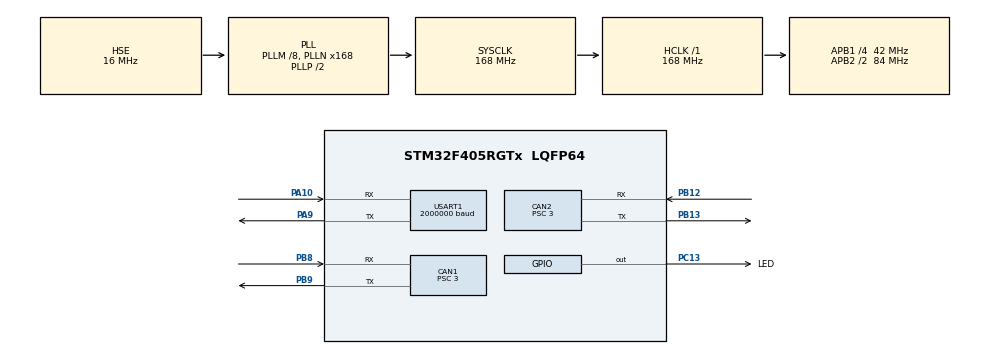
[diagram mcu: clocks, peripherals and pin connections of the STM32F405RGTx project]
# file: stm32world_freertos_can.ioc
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CAN1.BS1=CAN_BS1_11TQ
CAN1.BS2=CAN_BS2_2TQ
CAN1.CalculateBaudRate=1000000
CAN1.CalculateTimeBit=1000
CAN1.CalculateTimeQuantum=71.42857142857143
CAN1.Prescaler=3
CAN2.BS1=CAN_BS1_11TQ
CAN2.BS2=CAN_BS2_2TQ
CAN2.CalculateBaudRate=1000000
CAN2.CalculateTimeBit=1000
CAN2.CalculateTimeQuantum=71.42857142857143
CAN2.Prescaler=3
FREERTOS.BinarySemaphores01=ledSemaphore,Dynamic,NULL,Available
FREERTOS.Events01=canHandlerEvent,Dynamic,NULL
FREERTOS.Mutexes01=ledMutex,Dynamic,NULL,Available;printMutex,Dynamic,NULL,Available
FREERTOS.Queues01=tickQueue,16,uint32_t,0,Dynamic,NULL,NULL;canMessage,16,uint32_t,0,Dynamic,NULL,NULL
FREERTOS.Tasks01=defaultTask,24,128,StartDefaultTask,Default,NULL,Dynamic,NULL,NULL;ledTask,8,128,StartLedTask,Default,NULL,Dynamic,NULL,NULL;tickTask,8,196,StartTickTask,Default,NULL,Dynamic,NULL,NULL;statsTask,8,256,StartStatsTask,Default,NULL,Dynamic,NULL,NULL;canHandler1,8,128,startCanHandler1,Default,NULL,Dynamic,NULL,NULL;canHandler2,8,128,startCanHandler2,Default,NULL,Dynamic,NULL,NULL;canClean,8,128,startCanClean,Default,NULL,Dynamic,NULL,NULL
FREERTOS.configGENERATE_RUN_TIME_STATS=1
FREERTOS.configTOTAL_HEAP_SIZE=65536
FREERTOS.configUSE_NEWLIB_REENTRANT=1
FREERTOS.configUSE_STATS_FORMATTING_FUNCTIONS=1
Mcu.Family=STM32F4
Mcu.Name=STM32F405RGTx
Mcu.Package=LQFP64
NVIC.PriorityGroup=NVIC_PRIORITYGROUP_4
NVIC.TIM8_TRG_COM_TIM14_IRQn=true\:15\:0\:false\:false\:true\:false\:false\:true\:true
NVIC.TIM8_UP_TIM13_IRQn=true\:5\:0\:false\:false\:true\:true\:true\:true\:true
NVIC.TimeBase=TIM8_TRG_COM_TIM14_IRQn
NVIC.TimeBaseIP=TIM14
PA10.Mode=Asynchronous
PA10.Signal=USART1_RX
PA13.Mode=Trace_Asynchronous_SW
PA13.Signal=SYS_JTMS-SWDIO
PA14.Mode=Trace_Asynchronous_SW
PA14.Signal=SYS_JTCK-SWCLK
PA9.Mode=Asynchronous
PA9.Signal=USART1_TX
PB12.Mode=CAN_Activate
PB12.Signal=CAN2_RX
PB13.Mode=CAN_Activate
PB13.Signal=CAN2_TX
PB3.Mode=Trace_Asynchronous_SW
PB3.Signal=SYS_JTDO-SWO
PB8.Mode=CAN_Activate
PB8.Signal=CAN1_RX
PB9.Mode=CAN_Activate
PB9.Signal=CAN1_TX
PC13-ANTI_TAMP.GPIO_Label=LED
PC13-ANTI_TAMP.GPIO_ModeDefaultOutputPP=GPIO_MODE_OUTPUT_OD
PC13-ANTI_TAMP.GPIO_PuPd=GPIO_NOPULL
PC13-ANTI_TAMP.PinState=GPIO_PIN_SET
PC13-ANTI_TAMP.Signal=GPIO_Output
PH0-OSC_IN.Mode=HSE-External-Oscillator
PH0-OSC_IN.Signal=RCC_OSC_IN
PH1-OSC_OUT.Mode=HSE-External-Oscillator
PH1-OSC_OUT.Signal=RCC_OSC_OUT
ProjectManager.HeapSize=0x200
ProjectManager.StackSize=0x400
ProjectManager.TargetToolchain=STM32CubeIDE
RCC.48MHZClocksFreq_Value=84000000
RCC.AHBFreq_Value=168000000
RCC.APB1CLKDivider=RCC_HCLK_DIV4
RCC.APB1Freq_Value=42000000
RCC.APB1TimFreq_Value=84000000
RCC.APB2CLKDivider=RCC_HCLK_DIV2
RCC.APB2Freq_Value=84000000
RCC.APB2TimFreq_Value=168000000
RCC.CortexFreq_Value=168000000
RCC.HCLKFreq_Value=168000000
RCC.HSE_VALUE=16000000
RCC.HSI_VALUE=16000000
RCC.LSE_VALUE=32768
RCC.PLLM=8
RCC.PLLN=168
RCC.PLLSourceVirtual=RCC_PLLSOURCE_HSE
RCC.SYSCLKFreq_VALUE=168000000
RCC.SYSCLKSource=RCC_SYSCLKSOURCE_PLLCLK
RCC.VCOOutputFreq_Value=336000000
TIM13.Period=840 - 1
TIM13.Prescaler=10 - 1 
USART1.BaudRate=2000000
USART1.VirtualMode=VM_ASYNC
VP_FREERTOS_VS_CMSIS_V2.Mode=CMSIS_V2
VP_SYS_VS_tim14.Mode=TIM14
VP_TIM13_VS_ClockSourceINT.Mode=Enable_Timer
board=custom

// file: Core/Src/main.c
/* USER CODE BEGIN Header */
/**
 ******************************************************************************
 * @file           : main.c
 * @brief          : Main program body
 ******************************************************************************
 * @attention
 *
 * Copyright (c) 2024 Lars Boegild Thomsen <lth@stm32world.com>
 * All rights reserved.
 *
 * This software is licensed under terms that can be found in the LICENSE file
 * in the root directory of this software component.
 * If no LICENSE file comes with this software, it is provided AS-IS.
 *
 ******************************************************************************
 */
/* USER CODE END Header */
#include "main.h"
#include "cmsis_os2.h"

/* USER CODE BEGIN Includes */
#include <stdio.h>
/* USER CODE END Includes */

CAN_HandleTypeDef hcan1;
CAN_HandleTypeDef hcan2;

TIM_HandleTypeDef htim13;

UART_HandleTypeDef huart1;

/* Definitions for defaultTask */
osThreadId_t defaultTaskHandle;
const osThreadAttr_t defaultTask_attributes = {
        .name = "defaultTask",
        .stack_size = 128 * 4,
        .priority = (osPriority_t) osPriorityNormal,
};
/* Definitions for ledTask */
osThreadId_t ledTaskHandle;
const osThreadAttr_t ledTask_attributes = {
        .name = "ledTask",
        .stack_size = 128 * 4,
        .priority = (osPriority_t) osPriorityLow,
};
/* Definitions for tickTask */
osThreadId_t tickTaskHandle;
const osThreadAttr_t tickTask_attributes = {
        .name = "tickTask",
        .stack_size = 196 * 4,
        .priority = (osPriority_t) osPriorityLow,
};
/* Definitions for statsTask */
osThreadId_t statsTaskHandle;
const osThreadAttr_t statsTask_attributes = {
        .name = "statsTask",
        .stack_size = 256 * 4,
        .priority = (osPriority_t) osPriorityLow,
};
/* Definitions for canHandler1 */
osThreadId_t canHandler1Handle;
const osThreadAttr_t canHandler1_attributes = {
        .name = "canHandler1",
        .stack_size = 128 * 4,
        .priority = (osPriority_t) osPriorityLow,
};
/* Definitions for canHandler2 */
osThreadId_t canHandler2Handle;
const osThreadAttr_t canHandler2_attributes = {
        .name = "canHandler2",
        .stack_size = 128 * 4,
        .priority = (osPriority_t) osPriorityLow,
};
/* Definitions for tickQueue */
osMessageQueueId_t tickQueueHandle;
const osMessageQueueAttr_t tickQueue_attributes = {
        .name = "tickQueue"
};
/* Definitions for canMessage */
osMessageQueueId_t canMessageHandle;
const osMessageQueueAttr_t canMessage_attributes = {
        .name = "canMessage"
};
/* Definitions for ledMutex */
osMutexId_t ledMutexHandle;
const osMutexAttr_t ledMutex_attributes = {
        .name = "ledMutex"
};
/* Definitions for printMutex */
osMutexId_t printMutexHandle;
const osMutexAttr_t printMutex_attributes = {
        .name = "printMutex"
};
/* Definitions for ledSemaphore */
osSemaphoreId_t ledSemaphoreHandle;
const osSemaphoreAttr_t ledSemaphore_attributes = {
        .name = "ledSemaphore"
};
/* Definitions for canReceiveEvent */
osEventFlagsId_t canReceiveEventHandle;
const osEventFlagsAttr_t canReceiveEvent_attributes = {
        .name = "canReceiveEvent"
};
/* USER CODE BEGIN PV */

volatile unsigned long ulHighFrequencyTimerTicks;

// Pre-allocate all the heap for FreeRTOS.  FreeRTOS will do this by itself if this define is
// not set.
#ifdef configAPPLICATION_ALLOCATED_HEAP
uint8_t ucHeap[configTOTAL_HEAP_SIZE] __attribute__((section(".ccmram"))); // Put in ccmram
#endif

/* USER CODE END PV */

void SystemClock_Config(void);
static void MX_GPIO_Init(void);
static void MX_USART1_UART_Init(void);
static void MX_TIM13_Init(void);
static void MX_CAN1_Init(void);
static void MX_CAN2_Init(void);
void StartDefaultTask(void *argument);
void StartLedTask(void *argument);
void StartTickTask(void *argument);
void StartStatsTask(void *argument);
void startCanHandler1(void *argument);
void startCanHandler2(void *argument);

/* USER CODE BEGIN 0 */

// Send printf to uart1
int _write(int fd, char *ptr, int len) {
    HAL_StatusTypeDef hstatus;

    if (fd == 1 || fd == 2) {
        hstatus = HAL_UART_Transmit(&huart1, (uint8_t*) ptr, len, HAL_MAX_DELAY);
        if (hstatus == HAL_OK)
            return len;
        else
            return -1;
    }
    return -1;
}

void configureTimerForRunTimeStats(void) {
    ulHighFrequencyTimerTicks = 0;
    HAL_TIM_Base_Start_IT(&htim13);
}

unsigned long getRunTimeCounterValue(void) {
    return ulHighFrequencyTimerTicks;
}

/* USER CODE END 0 */

int main(void)
{

    /* MCU Configuration--------------------------------------------------------*/

    /* Reset of all peripherals, Initializes the Flash interface and the Systick. */
    HAL_Init();

    /* Configure the system clock */
    SystemClock_Config();

    /* Initialize all configured peripherals */
    MX_GPIO_Init();
    MX_USART1_UART_Init();
    MX_TIM13_Init();
    MX_CAN1_Init();
    MX_CAN2_Init();
    /* USER CODE BEGIN 2 */

    printf("\n\n\n--------\nStarting\n");

    /* USER CODE END 2 */

    /* Init scheduler */
    osKernelInitialize();
    /* Create the mutex(es) */
    /* creation of ledMutex */
    ledMutexHandle = osMutexNew(&ledMutex_attributes);

    /* creation of printMutex */
    printMutexHandle = osMutexNew(&printMutex_attributes);

    /* Create the semaphores(s) */
    /* creation of ledSemaphore */
    ledSemaphoreHandle = osSemaphoreNew(1, 1, &ledSemaphore_attributes);

    /* Create the queue(s) */
    /* creation of tickQueue */
    tickQueueHandle = osMessageQueueNew(16, sizeof(uint32_t), &tickQueue_attributes);

    /* creation of canMessage */
    canMessageHandle = osMessageQueueNew(16, sizeof(uint32_t), &canMessage_attributes);

    /* Create the thread(s) */
    /* creation of defaultTask */
    defaultTaskHandle = osThreadNew(StartDefaultTask, NULL, &defaultTask_attributes);

    /* creation of ledTask */
    ledTaskHandle = osThreadNew(StartLedTask, NULL, &ledTask_attributes);

    /* creation of tickTask */
    tickTaskHandle = osThreadNew(StartTickTask, NULL, &tickTask_attributes);

    /* creation of statsTask */
    statsTaskHandle = osThreadNew(StartStatsTask, NULL, &statsTask_attributes);

    /* creation of canHandler1 */
    canHandler1Handle = osThreadNew(startCanHandler1, NULL, &canHandler1_attributes);

    /* creation of canHandler2 */
    canHandler2Handle = osThreadNew(startCanHandler2, NULL, &canHandler2_attributes);

    /* creation of canReceiveEvent */
    canReceiveEventHandle = osEventFlagsNew(&canReceiveEvent_attributes);

    /* Start scheduler */
    osKernelStart();

    /* We should never get here as control is now taken by the scheduler */

    /* Infinite loop */
    while (1)
    {

    }
}

void SystemClock_Config(void)
{
    RCC_OscInitTypeDef RCC_OscInitStruct = { 0 };
    RCC_ClkInitTypeDef RCC_ClkInitStruct = { 0 };

    /** Configure the main internal regulator output voltage
     */
    __HAL_RCC_PWR_CLK_ENABLE();
    __HAL_PWR_VOLTAGESCALING_CONFIG(PWR_REGULATOR_VOLTAGE_SCALE1);

    /** Initializes the RCC Oscillators according to the specified parameters
     * in the RCC_OscInitTypeDef structure.
     */
    RCC_OscInitStruct.OscillatorType = RCC_OSCILLATORTYPE_HSE;
    RCC_OscInitStruct.HSEState = RCC_HSE_ON;
    RCC_OscInitStruct.PLL.PLLState = RCC_PLL_ON;
    RCC_OscInitStruct.PLL.PLLSource = RCC_PLLSOURCE_HSE;
    RCC_OscInitStruct.PLL.PLLM = 8;
    RCC_OscInitStruct.PLL.PLLN = 168;
    RCC_OscInitStruct.PLL.PLLP = RCC_PLLP_DIV2;
    RCC_OscInitStruct.PLL.PLLQ = 4;
    if (HAL_RCC_OscConfig(&RCC_OscInitStruct) != HAL_OK)
            {
        Error_Handler();
    }

    /** Initializes the CPU, AHB and APB buses clocks
     */
    RCC_ClkInitStruct.ClockType = RCC_CLOCKTYPE_HCLK | RCC_CLOCKTYPE_SYSCLK
            | RCC_CLOCKTYPE_PCLK1 | RCC_CLOCKTYPE_PCLK2;
    RCC_ClkInitStruct.SYSCLKSource = RCC_SYSCLKSOURCE_PLLCLK;
    RCC_ClkInitStruct.AHBCLKDivider = RCC_SYSCLK_DIV1;
    RCC_ClkInitStruct.APB1CLKDivider = RCC_HCLK_DIV4;
    RCC_ClkInitStruct.APB2CLKDivider = RCC_HCLK_DIV2;

    if (HAL_RCC_ClockConfig(&RCC_ClkInitStruct, FLASH_LATENCY_5) != HAL_OK)
            {
        Error_Handler();
    }
}

static void MX_CAN1_Init(void)
{

    hcan1.Instance = CAN1;
    hcan1.Init.Prescaler = 3;
    hcan1.Init.Mode = CAN_MODE_NORMAL;
    hcan1.Init.SyncJumpWidth = CAN_SJW_1TQ;
    hcan1.Init.TimeSeg1 = CAN_BS1_11TQ;
    hcan1.Init.TimeSeg2 = CAN_BS2_2TQ;
    hcan1.Init.TimeTriggeredMode = DISABLE;
    hcan1.Init.AutoBusOff = DISABLE;
    hcan1.Init.AutoWakeUp = DISABLE;
    hcan1.Init.AutoRetransmission = DISABLE;
    hcan1.Init.ReceiveFifoLocked = DISABLE;
    hcan1.Init.TransmitFifoPriority = DISABLE;
    if (HAL_CAN_Init(&hcan1) != HAL_OK)
            {
        Error_Handler();
    }

}

static void MX_CAN2_Init(void)
{

    hcan2.Instance = CAN2;
    hcan2.Init.Prescaler = 3;
    hcan2.Init.Mode = CAN_MODE_NORMAL;
    hcan2.Init.SyncJumpWidth = CAN_SJW_1TQ;
    hcan2.Init.TimeSeg1 = CAN_BS1_11TQ;
    hcan2.Init.TimeSeg2 = CAN_BS2_2TQ;
    hcan2.Init.TimeTriggeredMode = DISABLE;
    hcan2.Init.AutoBusOff = DISABLE;
    hcan2.Init.AutoWakeUp = DISABLE;
    hcan2.Init.AutoRetransmission = DISABLE;
    hcan2.Init.ReceiveFifoLocked = DISABLE;
    hcan2.Init.TransmitFifoPriority = DISABLE;
    if (HAL_CAN_Init(&hcan2) != HAL_OK)
            {
        Error_Handler();
    }

}

static void MX_TIM13_Init(void)
{

    htim13.Instance = TIM13;
    htim13.Init.Prescaler = 0;
    htim13.Init.CounterMode = TIM_COUNTERMODE_UP;
    htim13.Init.Period = 840 - 1;
    htim13.Init.ClockDivision = TIM_CLOCKDIVISION_DIV1;
    htim13.Init.AutoReloadPreload = TIM_AUTORELOAD_PRELOAD_DISABLE;
    if (HAL_TIM_Base_Init(&htim13) != HAL_OK)
            {
        Error_Handler();
    }

}

static void MX_USART1_UART_Init(void)
{

    huart1.Instance = USART1;
    huart1.Init.BaudRate = 2000000;
    huart1.Init.WordLength = UART_WORDLENGTH_8B;
    huart1.Init.StopBits = UART_STOPBITS_1;
    huart1.Init.Parity = UART_PARITY_NONE;
    huart1.Init.Mode = UART_MODE_TX_RX;
    huart1.Init.HwFlowCtl = UART_HWCONTROL_NONE;
    huart1.Init.OverSampling = UART_OVERSAMPLING_16;
    if (HAL_UART_Init(&huart1) != HAL_OK)
            {
        Error_Handler();
    }

}

static void MX_GPIO_Init(void)
{
    GPIO_InitTypeDef GPIO_InitStruct = { 0 };

    /* GPIO Ports Clock Enable */
    __HAL_RCC_GPIOC_CLK_ENABLE();
    __HAL_RCC_GPIOH_CLK_ENABLE();
    __HAL_RCC_GPIOB_CLK_ENABLE();
    __HAL_RCC_GPIOA_CLK_ENABLE();

    /*Configure GPIO pin Output Level */
    HAL_GPIO_WritePin(LED_GPIO_Port, LED_Pin, GPIO_PIN_SET);

    /*Configure GPIO pin : LED_Pin */
    GPIO_InitStruct.Pin = LED_Pin;
    GPIO_InitStruct.Mode = GPIO_MODE_OUTPUT_OD;
    GPIO_InitStruct.Pull = GPIO_NOPULL;
    GPIO_InitStruct.Speed = GPIO_SPEED_FREQ_LOW;
    HAL_GPIO_Init(LED_GPIO_Port, &GPIO_InitStruct);

}

void StartDefaultTask(void *argument)
{
    /* USER CODE BEGIN 5 */

    uint32_t loop_cnt = 0;

    /* Infinite loop */
    for (;;)
            {
        osDelay(100);

        if (loop_cnt % 10 == 0) {

            uint32_t tick = osKernelGetTickCount();

            osMessageQueuePut(tickQueueHandle, &tick, 0, osWaitForever);

        }

        if (loop_cnt % 5 == 0) {

            osSemaphoreRelease(ledSemaphoreHandle);

        }

        ++loop_cnt;
    }
    /* USER CODE END 5 */
}

void StartLedTask(void *argument)
{
    /* USER CODE BEGIN StartLedTask */

    osStatus_t ret;

    /* Infinite loop */
    for (;;) {

        ret = osSemaphoreAcquire(ledSemaphoreHandle, osWaitForever);

        if (!ret) {

            osMutexWait(ledMutexHandle, osWaitForever);

            HAL_GPIO_TogglePin(LED_GPIO_Port, LED_Pin);

            osMutexRelease(ledMutexHandle);

        }

    }
    /* USER CODE END StartLedTask */
}

void StartTickTask(void *argument)
{
    /* USER CODE BEGIN StartTickTask */

    osStatus_t ret;

    /* Infinite loop */
    for (;;) {

        uint32_t tick;

        ret = osMessageQueueGet(tickQueueHandle, &tick, NULL, osWaitForever);

        if (ret == osOK) {

            osMutexWait(printMutexHandle, osWaitForever);

            printf("Tick %lu \n", tick / 1000);

            osMutexRelease(printMutexHandle);

        }

    }

    /* USER CODE END StartTickTask */
}

void StartStatsTask(void *argument)
{
    /* USER CODE BEGIN StartStatsTask */

    TaskStatus_t *pxTaskStatusArray;
    volatile UBaseType_t uxArraySize, x;
    unsigned long ulTotalRunTime;
    float runtime_percentage;

    /* Infinite loop */
    for (;;) {

        osDelay(10000);

        uxArraySize = uxTaskGetNumberOfTasks();
        pxTaskStatusArray = pvPortMalloc(uxArraySize * sizeof(TaskStatus_t)); // a little bit scary!

        osMutexWait(printMutexHandle, osWaitForever);

        if (pxTaskStatusArray != NULL) {

            uxArraySize = uxTaskGetSystemState(pxTaskStatusArray, uxArraySize,
                    &ulTotalRunTime);

            printf("Task count = %lu\n", uxArraySize);
            printf("No       Name          P  S   Usage     Count     HW\n");

            for (x = 0; x < uxArraySize; x++) {

                runtime_percentage = (float) (100
                        * (float) pxTaskStatusArray[x].ulRunTimeCounter
                        / (float) ulTotalRunTime);

                printf("Task %2lu: %-12s %2lu %2d %8.4f (%8lu) %4i\n",
                        x,
                        pxTaskStatusArray[x].pcTaskName,
                        pxTaskStatusArray[x].uxCurrentPriority,
                        pxTaskStatusArray[x].eCurrentState,
                        runtime_percentage,
                        pxTaskStatusArray[x].ulRunTimeCounter,
                        pxTaskStatusArray[x].usStackHighWaterMark);

            }

            vPortFree(pxTaskStatusArray);

        } else {
            printf("Unable to allocate stack space\n");
        }

        osMutexRelease(printMutexHandle);

    }

    /* USER CODE END StartStatsTask */
}

void startCanHandler1(void *argument)
{
    /* USER CODE BEGIN startCanHandler1 */
    /* Infinite loop */
    for (;;) {

        ret = osMessagePeek(canQueueHandle);
        ret = osMessageQueueGet(tickQueueHandle, &tick, NULL, osWaitForever);
    }
    /* USER CODE END startCanHandler1 */
}

void startCanHandler2(void *argument)
{
    for (;;)
            {
        osDelay(1);
    }
}

void HAL_TIM_PeriodElapsedCallback(TIM_HandleTypeDef *htim)
{
    if (htim->Instance == TIM14) {
        HAL_IncTick();
    }
}

void Error_Handler(void)
{
    __disable_irq();
    while (1)
    {
    }
}
